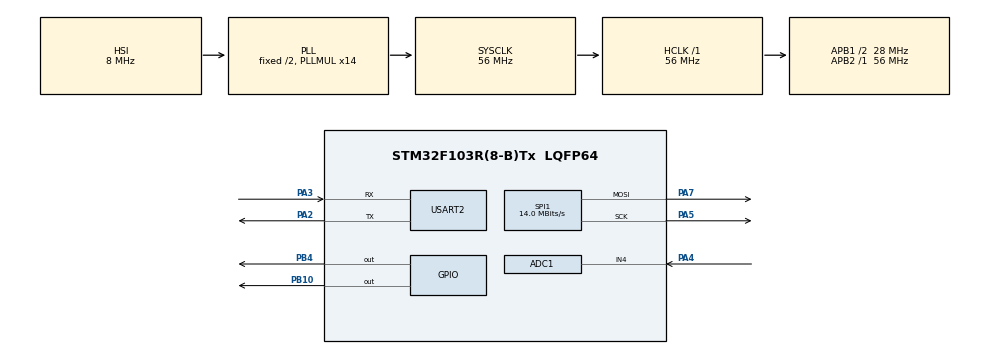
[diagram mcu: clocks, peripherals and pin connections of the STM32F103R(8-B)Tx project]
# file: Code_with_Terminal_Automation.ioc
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ADC1.Channel-0\#ChannelRegularConversion=ADC_CHANNEL_4
ADC1.NbrOfConversionFlag=1
ADC1.Rank-0\#ChannelRegularConversion=1
ADC1.SamplingTime-0\#ChannelRegularConversion=ADC_SAMPLETIME_1CYCLE_5
ADC1.master=1
Mcu.Family=STM32F1
Mcu.Name=STM32F103R(8-B)Tx
Mcu.Package=LQFP64
NVIC.PriorityGroup=NVIC_PRIORITYGROUP_4
PA2.Mode=Asynchronous
PA2.Signal=USART2_TX
PA3.Mode=Asynchronous
PA3.Signal=USART2_RX
PA4.Signal=ADCx_IN4
PA5.Mode=TX_Only_Simplex_Unidirect_Master
PA5.Signal=SPI1_SCK
PA7.Mode=TX_Only_Simplex_Unidirect_Master
PA7.Signal=SPI1_MOSI
PB10.Signal=GPIO_Output
PB4.Signal=GPIO_Output
ProjectManager.HeapSize=0x200
ProjectManager.StackSize=0x400
ProjectManager.TargetToolchain=STM32CubeIDE
RCC.ADCPresc=RCC_ADCPCLK2_DIV4
RCC.AHBFreq_Value=56000000
RCC.APB1CLKDivider=RCC_HCLK_DIV2
RCC.APB1Freq_Value=28000000
RCC.APB1TimFreq_Value=56000000
RCC.APB2Freq_Value=56000000
RCC.APB2TimFreq_Value=56000000
RCC.HCLKFreq_Value=56000000
RCC.PLLMUL=RCC_PLL_MUL14
RCC.SYSCLKFreq_VALUE=56000000
RCC.SYSCLKSource=RCC_SYSCLKSOURCE_PLLCLK
RCC.USBFreq_Value=56000000
SH.ADCx_IN4.0=ADC1_IN4,IN4
SPI1.BaudRatePrescaler=SPI_BAUDRATEPRESCALER_4
SPI1.CalculateBaudRate=14.0 MBits/s
SPI1.Direction=SPI_DIRECTION_2LINES
SPI1.Mode=SPI_MODE_MASTER
SPI1.VirtualType=VM_MASTER
USART2.VirtualMode=VM_ASYNC
VP_SYS_VS_ND.Mode=No_Debug
board=custom

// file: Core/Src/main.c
/* USER CODE BEGIN Header */
/**
  ******************************************************************************
  * @file           : main.c
  * @brief          : Main program body
  ******************************************************************************
  * @attention
  *
  * Copyright (c) 2024 STMicroelectronics.
  * All rights reserved.
  *
  * This software is licensed under terms that can be found in the LICENSE file
  * in the root directory of this software component.
  * If no LICENSE file comes with this software, it is provided AS-IS.
  *
  ******************************************************************************
  */
/* USER CODE END Header */
#include "main.h"
#include <stdio.h>
#include <string.h>

ADC_HandleTypeDef hadc1;

SPI_HandleTypeDef hspi1;

UART_HandleTypeDef huart2;

void SystemClock_Config(void);
static void MX_GPIO_Init(void);
static void MX_ADC1_Init(void);
static void MX_SPI1_Init(void);
static void MX_USART2_UART_Init(void);

/* USER CODE BEGIN 0 */

void UART_SendString(const char *str) {
    while (*str) {
        while (!(USART2->SR & USART_SR_TXE));
        USART2->DR = *str++;
    }
}

void generate_wave_case1(void) {
	uint8_t myData[2];
	uint16_t adc_Value = 0;
	uint16_t adc_array[80];
	char msg[16];

	// Define a global index variable to keep track of the position in the array
	uint8_t adc_index = 0;
    // Code for generating wave for case 1
	  for (uint16_t voltage = 500; voltage <= 4000; voltage +=100) // Decrement voltage in steps
		 {
	   myData[0] = (voltage >> 8) | 0x30; // First byte (configuration bits + MSB)
	   myData[1] = voltage & 0xFF;        // Second byte (LSB)
	   HAL_GPIO_WritePin(GPIOB, GPIO_PIN_4, GPIO_PIN_SET);
	   HAL_GPIO_WritePin(GPIOB, GPIO_PIN_10, GPIO_PIN_RESET);
	   HAL_SPI_Transmit(&hspi1, myData, sizeof(myData), HAL_MAX_DELAY);
	   HAL_GPIO_WritePin(GPIOB, GPIO_PIN_10, GPIO_PIN_SET);
	   HAL_GPIO_WritePin(GPIOB, GPIO_PIN_4, GPIO_PIN_RESET);
	  HAL_ADC_Start(&hadc1);

	 // Wait for ADC conversion to complete
	 HAL_ADC_PollForConversion(&hadc1, HAL_MAX_DELAY);

	 // Read ADC value
	 adc_Value = HAL_ADC_GetValue(&hadc1);
	 adc_array[adc_index++] = adc_Value;
		 }
	  for (uint16_t voltage = 4000; voltage > 0; voltage -=100) // Decrement voltage in steps
		 {
	   myData[0] = (voltage >> 8) | 0x30; // First byte (configuration bits + MSB)
	   myData[1] = voltage & 0xFF;        // Second byte (LSB)
	   HAL_GPIO_WritePin(GPIOB, GPIO_PIN_4, GPIO_PIN_SET);
	   HAL_GPIO_WritePin(GPIOB, GPIO_PIN_10, GPIO_PIN_RESET);
	   HAL_SPI_Transmit(&hspi1, myData, sizeof(myData), HAL_MAX_DELAY);
	   HAL_GPIO_WritePin(GPIOB, GPIO_PIN_10, GPIO_PIN_SET);
	   HAL_GPIO_WritePin(GPIOB, GPIO_PIN_4, GPIO_PIN_RESET);
	  HAL_ADC_Start(&hadc1);

	 // Wait for ADC conversion to complete
	 HAL_ADC_PollForConversion(&hadc1, HAL_MAX_DELAY);

	 // Read ADC value
	 adc_Value = HAL_ADC_GetValue(&hadc1);
	 adc_array[adc_index++] = adc_Value;
		 }
		for (int i = 0; i < sizeof(adc_array) / sizeof(adc_array[0]); i++) {
		    sprintf(msg, "%hu\r\n", adc_array[i]); // Format current ADC value
		    HAL_UART_Transmit(&huart2, (uint8_t *)msg, strlen(msg), HAL_MAX_DELAY); // Transmit formatted value via UART
		}
}

void generate_wave_case2(void) {
	uint8_t myData[2];
	uint16_t adc_Value = 0;
	uint16_t adc_array[160];
	char msg[16];
	uint8_t adc_index = 0;
    // Code for generating wave for case 2
	for (uint16_t voltage = 2100; voltage <= 4000; voltage +=100) // Increment voltage in steps
	 {
	   // Construct SPI data
	   myData[0] = (voltage >> 8) | 0x30; // First byte (configuration bits + MSB)
	   myData[1] = voltage & 0xFF;        // Second byte (LSB)

	   // Set CS pin low to select MCP4921
	   HAL_GPIO_WritePin(GPIOB, GPIO_PIN_4, GPIO_PIN_SET);
	   HAL_GPIO_WritePin(GPIOB, GPIO_PIN_10, GPIO_PIN_RESET);

	   // Transmit SPI data
	   HAL_SPI_Transmit(&hspi1, myData, sizeof(myData), HAL_MAX_DELAY);

	   // Set CS pin high to deselect MCP4921
	   HAL_GPIO_WritePin(GPIOB, GPIO_PIN_10, GPIO_PIN_SET);
	   HAL_GPIO_WritePin(GPIOB, GPIO_PIN_4, GPIO_PIN_RESET);
	  HAL_ADC_Start(&hadc1);

	 // Wait for ADC conversion to complete
	 HAL_ADC_PollForConversion(&hadc1, HAL_MAX_DELAY);

	 // Read ADC value
	 adc_Value = HAL_ADC_GetValue(&hadc1);
	 adc_array[adc_index++] = adc_Value;
	 }
	for (uint16_t voltage = 4000; voltage > 2000; voltage -=100) // Increment voltage in steps
	 {
	   // Construct SPI data
	   myData[0] = (voltage >> 8) | 0x30; // First byte (configuration bits + MSB)
	   myData[1] = voltage & 0xFF;        // Second byte (LSB)

	   // Set CS pin low to select MCP4921
	   HAL_GPIO_WritePin(GPIOB, GPIO_PIN_4, GPIO_PIN_SET);
	   HAL_GPIO_WritePin(GPIOB, GPIO_PIN_10, GPIO_PIN_RESET);

	   // Transmit SPI data
	   HAL_SPI_Transmit(&hspi1, myData, sizeof(myData), HAL_MAX_DELAY);

	   // Set CS pin high to deselect MCP4921
	   HAL_GPIO_WritePin(GPIOB, GPIO_PIN_10, GPIO_PIN_SET);
	   HAL_GPIO_WritePin(GPIOB, GPIO_PIN_4, GPIO_PIN_RESET);
		  HAL_ADC_Start(&hadc1);

		 // Wait for ADC conversion to complete
		 HAL_ADC_PollForConversion(&hadc1, HAL_MAX_DELAY);

		 // Read ADC value
		 adc_Value = HAL_ADC_GetValue(&hadc1);
		 adc_array[adc_index++] = adc_Value;
	 }
	for (uint16_t voltage = 2100; voltage <= 4000; voltage +=100) // Increment voltage in steps
	 {
	   // Construct SPI data
	   myData[0] = (voltage >> 8) | 0x30; // First byte (configuration bits + MSB)
	   myData[1] = voltage & 0xFF;        // Second byte (LSB)

	   // Set CS pin low to select MCP4921
	   HAL_GPIO_WritePin(GPIOB, GPIO_PIN_4, GPIO_PIN_SET);
	   HAL_GPIO_WritePin(GPIOB, GPIO_PIN_10, GPIO_PIN_RESET);

	   // Transmit SPI data
	   HAL_SPI_Transmit(&hspi1, myData, sizeof(myData), HAL_MAX_DELAY);

	   // Set CS pin high to deselect MCP4921
	   HAL_GPIO_WritePin(GPIOB, GPIO_PIN_10, GPIO_PIN_SET);
	   HAL_GPIO_WritePin(GPIOB, GPIO_PIN_4, GPIO_PIN_RESET);
		  HAL_ADC_Start(&hadc1);

		 // Wait for ADC conversion to complete
		 HAL_ADC_PollForConversion(&hadc1, HAL_MAX_DELAY);

		 // Read ADC value
		 adc_Value = HAL_ADC_GetValue(&hadc1);
		 adc_array[adc_index++] = adc_Value;
	 }
	for (uint16_t voltage = 4000; voltage > 2000; voltage -=100) // Increment voltage in steps
	 {
	   // Construct SPI data
	   myData[0] = (voltage >> 8) | 0x30; // First byte (configuration bits + MSB)
	   myData[1] = voltage & 0xFF;        // Second byte (LSB)

	   // Set CS pin low to select MCP4921
	   HAL_GPIO_WritePin(GPIOB, GPIO_PIN_4, GPIO_PIN_SET);
	   HAL_GPIO_WritePin(GPIOB, GPIO_PIN_10, GPIO_PIN_RESET);

	   // Transmit SPI data
	   HAL_SPI_Transmit(&hspi1, myData, sizeof(myData), HAL_MAX_DELAY);

	   // Set CS pin high to deselect MCP4921
	   HAL_GPIO_WritePin(GPIOB, GPIO_PIN_10, GPIO_PIN_SET);
	   HAL_GPIO_WritePin(GPIOB, GPIO_PIN_4, GPIO_PIN_RESET);
		  HAL_ADC_Start(&hadc1);

		 // Wait for ADC conversion to complete
		 HAL_ADC_PollForConversion(&hadc1, HAL_MAX_DELAY);

		 // Read ADC value
		 adc_Value = HAL_ADC_GetValue(&hadc1);
		 adc_array[adc_index++] = adc_Value;
	 }
	for (uint16_t voltage = 2000; voltage > 0; voltage -=100) // Increment voltage in steps
	 {
	   // Construct SPI data
	   myData[0] = (voltage >> 8) | 0x30; // First byte (configuration bits + MSB)
	   myData[1] = voltage & 0xFF;        // Second byte (LSB)

	   // Set CS pin low to select MCP4921
	   HAL_GPIO_WritePin(GPIOB, GPIO_PIN_4, GPIO_PIN_SET);
	   HAL_GPIO_WritePin(GPIOB, GPIO_PIN_10, GPIO_PIN_RESET);

	   // Transmit SPI data
	   HAL_SPI_Transmit(&hspi1, myData, sizeof(myData), HAL_MAX_DELAY);

	   // Set CS pin high to deselect MCP4921
	   HAL_GPIO_WritePin(GPIOB, GPIO_PIN_10, GPIO_PIN_SET);
	   HAL_GPIO_WritePin(GPIOB, GPIO_PIN_4, GPIO_PIN_RESET);
		  HAL_ADC_Start(&hadc1);

		 // Wait for ADC conversion to complete
		 HAL_ADC_PollForConversion(&hadc1, HAL_MAX_DELAY);

		 // Read ADC value
		 adc_Value = HAL_ADC_GetValue(&hadc1);
		 adc_array[adc_index++] = adc_Value;
	 }
	for (uint16_t voltage = 100; voltage <= 2000; voltage +=100) // Increment voltage in steps
	 {
	   // Construct SPI data
	   myData[0] = (voltage >> 8) | 0x30; // First byte (configuration bits + MSB)
	   myData[1] = voltage & 0xFF;        // Second byte (LSB)

	   // Set CS pin low to select MCP4921
	   HAL_GPIO_WritePin(GPIOB, GPIO_PIN_4, GPIO_PIN_SET);
	   HAL_GPIO_WritePin(GPIOB, GPIO_PIN_10, GPIO_PIN_RESET);

	   // Transmit SPI data
	   HAL_SPI_Transmit(&hspi1, myData, sizeof(myData), HAL_MAX_DELAY);

	   // Set CS pin high to deselect MCP4921
	   HAL_GPIO_WritePin(GPIOB, GPIO_PIN_10, GPIO_PIN_SET);
	   HAL_GPIO_WritePin(GPIOB, GPIO_PIN_4, GPIO_PIN_RESET);
		  HAL_ADC_Start(&hadc1);

		 // Wait for ADC conversion to complete
		 HAL_ADC_PollForConversion(&hadc1, HAL_MAX_DELAY);

		 // Read ADC value
		 adc_Value = HAL_ADC_GetValue(&hadc1);
		 adc_array[adc_index++] = adc_Value;
	 }
	for (uint16_t voltage = 2000; voltage > 0; voltage -=100) // Increment voltage in steps
	 {
	   // Construct SPI data
	   myData[0] = (voltage >> 8) | 0x30; // First byte (configuration bits + MSB)
	   myData[1] = voltage & 0xFF;        // Second byte (LSB)

	   // Set CS pin low to select MCP4921
	   HAL_GPIO_WritePin(GPIOB, GPIO_PIN_4, GPIO_PIN_SET);
	   HAL_GPIO_WritePin(GPIOB, GPIO_PIN_10, GPIO_PIN_RESET);

	   // Transmit SPI data
	   HAL_SPI_Transmit(&hspi1, myData, sizeof(myData), HAL_MAX_DELAY);

	   // Set CS pin high to deselect MCP4921
	   HAL_GPIO_WritePin(GPIOB, GPIO_PIN_10, GPIO_PIN_SET);
	   HAL_GPIO_WritePin(GPIOB, GPIO_PIN_4, GPIO_PIN_RESET);
		  HAL_ADC_Start(&hadc1);

		 // Wait for ADC conversion to complete
		 HAL_ADC_PollForConversion(&hadc1, HAL_MAX_DELAY);

		 // Read ADC value
		 adc_Value = HAL_ADC_GetValue(&hadc1);
		 adc_array[adc_index++] = adc_Value;
	 }
	for (uint16_t voltage = 100; voltage <= 2000; voltage +=100) // Increment voltage in steps
	 {
	   // Construct SPI data
	   myData[0] = (voltage >> 8) | 0x30; // First byte (configuration bits + MSB)
	   myData[1] = voltage & 0xFF;        // Second byte (LSB)

	   // Set CS pin low to select MCP4921
	   HAL_GPIO_WritePin(GPIOB, GPIO_PIN_4, GPIO_PIN_SET);
	   HAL_GPIO_WritePin(GPIOB, GPIO_PIN_10, GPIO_PIN_RESET);

	   // Transmit SPI data
	   HAL_SPI_Transmit(&hspi1, myData, sizeof(myData), HAL_MAX_DELAY);

	   // Set CS pin high to deselect MCP4921
	   HAL_GPIO_WritePin(GPIOB, GPIO_PIN_10, GPIO_PIN_SET);
	   HAL_GPIO_WritePin(GPIOB, GPIO_PIN_4, GPIO_PIN_RESET);
		  HAL_ADC_Start(&hadc1);

		 // Wait for ADC conversion to complete
		 HAL_ADC_PollForConversion(&hadc1, HAL_MAX_DELAY);

		 // Read ADC value
		 adc_Value = HAL_ADC_GetValue(&hadc1);
		 adc_array[adc_index++] = adc_Value;
	 }
	for (int i = 0; i < sizeof(adc_array) / sizeof(adc_array[0]); i++) {
	    sprintf(msg, "%hu\r\n", adc_array[i]); // Format current ADC value
	    HAL_UART_Transmit(&huart2, (uint8_t *)msg, strlen(msg), HAL_MAX_DELAY); // Transmit formatted value via UART
	}
}

void generate_wave_case3(void){
	uint8_t myData[2];
	uint16_t adc_Value = 0;
//	uint16_t adc_array[160];
//	uint8_t loopCount = 0;
//	char msg[16];
//	uint8_t adc_index = 0;
	while(1)
	{
	  for (uint16_t voltage = 500; voltage <= 4000; voltage +=500) // Decrement voltage in steps
		 {
	   myData[0] = (voltage >> 8) | 0x30; // First byte (configuration bits + MSB)
	   myData[1] = voltage & 0xFF;        // Second byte (LSB)
	   HAL_GPIO_WritePin(GPIOB, GPIO_PIN_4, GPIO_PIN_SET);
	   HAL_GPIO_WritePin(GPIOB, GPIO_PIN_10, GPIO_PIN_RESET);
	   HAL_SPI_Transmit(&hspi1, myData, sizeof(myData), HAL_MAX_DELAY);
	   HAL_GPIO_WritePin(GPIOB, GPIO_PIN_10, GPIO_PIN_SET);
	   HAL_GPIO_WritePin(GPIOB, GPIO_PIN_4, GPIO_PIN_RESET);
//		  HAL_ADC_Start(&hadc1);
//
//		 // Wait for ADC conversion to complete
//		 HAL_ADC_PollForConversion(&hadc1, HAL_MAX_DELAY);
//
//		 // Read ADC value
//		 adc_Value = HAL_ADC_GetValue(&hadc1);
//		 adc_array[adc_index++] = adc_Value;
		 }
	  for (uint16_t voltage = 4000; voltage > 0; voltage -=500) // Decrement voltage in steps
		 {
	   myData[0] = (voltage >> 8) | 0x30; // First byte (configuration bits + MSB)
	   myData[1] = voltage & 0xFF;        // Second byte (LSB)
	   HAL_GPIO_WritePin(GPIOB, GPIO_PIN_4, GPIO_PIN_SET);
	   HAL_GPIO_WritePin(GPIOB, GPIO_PIN_10, GPIO_PIN_RESET);
	   HAL_SPI_Transmit(&hspi1, myData, sizeof(myData), HAL_MAX_DELAY);
	   HAL_GPIO_WritePin(GPIOB, GPIO_PIN_10, GPIO_PIN_SET);
	   HAL_GPIO_WritePin(GPIOB, GPIO_PIN_4, GPIO_PIN_RESET);
//		  HAL_ADC_Start(&hadc1);
//
//		 // Wait for ADC conversion to complete
//		 HAL_ADC_PollForConversion(&hadc1, HAL_MAX_DELAY);
//
//		 // Read ADC value
//		 adc_Value = HAL_ADC_GetValue(&hadc1);
//		 adc_array[adc_index++] = adc_Value;
		 }
//	  loopCount++;
	}
//	for (int i = 0; i < sizeof(adc_array) / sizeof(adc_array[0]); i++) {
//	    sprintf(msg, "%hu\r\n", adc_array[i]); // Format current ADC value
//	    HAL_UART_Transmit(&huart2, (uint8_t *)msg, strlen(msg), HAL_MAX_DELAY); // Transmit formatted value via UART
//	}
}
/* USER CODE END 0 */

int main(void)
{

  /* MCU Configuration--------------------------------------------------------*/

  /* Reset of all peripherals, Initializes the Flash interface and the Systick. */
  HAL_Init();

  /* Configure the system clock */
  SystemClock_Config();

  /* Initialize all configured peripherals */
  MX_GPIO_Init();
  MX_ADC1_Init();
  MX_SPI1_Init();
  MX_USART2_UART_Init();

  /* Infinite loop */
  while (1)
  {
	  if (USART2->SR & USART_SR_RXNE) {
	              // Read the received character
			  char received_char = USART2->DR;

			  // Process the received character
			  switch (received_char) {
				  case 'A':
					  UART_SendString("Generating wave for case 1\r\n");
					  generate_wave_case1();
					  break;
				  case 'B':
					  UART_SendString("Generating wave for case 2\r\n");
					  generate_wave_case2();
					  break;
				  case 'C':
					  UART_SendString("Generating wave for case 3\r\n");
					  generate_wave_case3();
					  break;
				  default:
					  UART_SendString("Invalid command. Please enter 'A' or 'B' or 'C'\r\n");
					  break;
			  }
		  }
  }
}

void SystemClock_Config(void)
{
  RCC_OscInitTypeDef RCC_OscInitStruct = {0};
  RCC_ClkInitTypeDef RCC_ClkInitStruct = {0};
  RCC_PeriphCLKInitTypeDef PeriphClkInit = {0};

  /** Initializes the RCC Oscillators according to the specified parameters
  * in the RCC_OscInitTypeDef structure.
  */
  RCC_OscInitStruct.OscillatorType = RCC_OSCILLATORTYPE_HSI;
  RCC_OscInitStruct.HSIState = RCC_HSI_ON;
  RCC_OscInitStruct.HSICalibrationValue = RCC_HSICALIBRATION_DEFAULT;
  RCC_OscInitStruct.PLL.PLLState = RCC_PLL_ON;
  RCC_OscInitStruct.PLL.PLLSource = RCC_PLLSOURCE_HSI_DIV2;
  RCC_OscInitStruct.PLL.PLLMUL = RCC_PLL_MUL14;
  if (HAL_RCC_OscConfig(&RCC_OscInitStruct) != HAL_OK)
  {
    Error_Handler();
  }

  /** Initializes the CPU, AHB and APB buses clocks
  */
  RCC_ClkInitStruct.ClockType = RCC_CLOCKTYPE_HCLK|RCC_CLOCKTYPE_SYSCLK
                              |RCC_CLOCKTYPE_PCLK1|RCC_CLOCKTYPE_PCLK2;
  RCC_ClkInitStruct.SYSCLKSource = RCC_SYSCLKSOURCE_PLLCLK;
  RCC_ClkInitStruct.AHBCLKDivider = RCC_SYSCLK_DIV1;
  RCC_ClkInitStruct.APB1CLKDivider = RCC_HCLK_DIV2;
  RCC_ClkInitStruct.APB2CLKDivider = RCC_HCLK_DIV1;

  if (HAL_RCC_ClockConfig(&RCC_ClkInitStruct, FLASH_LATENCY_2) != HAL_OK)
  {
    Error_Handler();
  }
  PeriphClkInit.PeriphClockSelection = RCC_PERIPHCLK_ADC;
  PeriphClkInit.AdcClockSelection = RCC_ADCPCLK2_DIV4;
  if (HAL_RCCEx_PeriphCLKConfig(&PeriphClkInit) != HAL_OK)
  {
    Error_Handler();
  }
}

static void MX_ADC1_Init(void)
{

  ADC_ChannelConfTypeDef sConfig = {0};

  /** Common config
  */
  hadc1.Instance = ADC1;
  hadc1.Init.ScanConvMode = ADC_SCAN_DISABLE;
  hadc1.Init.ContinuousConvMode = DISABLE;
  hadc1.Init.DiscontinuousConvMode = DISABLE;
  hadc1.Init.ExternalTrigConv = ADC_SOFTWARE_START;
  hadc1.Init.DataAlign = ADC_DATAALIGN_RIGHT;
  hadc1.Init.NbrOfConversion = 1;
  if (HAL_ADC_Init(&hadc1) != HAL_OK)
  {
    Error_Handler();
  }

  /** Configure Regular Channel
  */
  sConfig.Channel = ADC_CHANNEL_4;
  sConfig.Rank = ADC_REGULAR_RANK_1;
  sConfig.SamplingTime = ADC_SAMPLETIME_1CYCLE_5;
  if (HAL_ADC_ConfigChannel(&hadc1, &sConfig) != HAL_OK)
  {
    Error_Handler();
  }

}

static void MX_SPI1_Init(void)
{

  /* SPI1 parameter configuration*/
  hspi1.Instance = SPI1;
  hspi1.Init.Mode = SPI_MODE_MASTER;
  hspi1.Init.Direction = SPI_DIRECTION_2LINES;
  hspi1.Init.DataSize = SPI_DATASIZE_8BIT;
  hspi1.Init.CLKPolarity = SPI_POLARITY_LOW;
  hspi1.Init.CLKPhase = SPI_PHASE_1EDGE;
  hspi1.Init.NSS = SPI_NSS_SOFT;
  hspi1.Init.BaudRatePrescaler = SPI_BAUDRATEPRESCALER_4;
  hspi1.Init.FirstBit = SPI_FIRSTBIT_MSB;
  hspi1.Init.TIMode = SPI_TIMODE_DISABLE;
  hspi1.Init.CRCCalculation = SPI_CRCCALCULATION_DISABLE;
  hspi1.Init.CRCPolynomial = 10;
  if (HAL_SPI_Init(&hspi1) != HAL_OK)
  {
    Error_Handler();
  }

}

static void MX_USART2_UART_Init(void)
{

  huart2.Instance = USART2;
  huart2.Init.BaudRate = 115200;
  huart2.Init.WordLength = UART_WORDLENGTH_8B;
  huart2.Init.StopBits = UART_STOPBITS_1;
  huart2.Init.Parity = UART_PARITY_NONE;
  huart2.Init.Mode = UART_MODE_TX_RX;
  huart2.Init.HwFlowCtl = UART_HWCONTROL_NONE;
  huart2.Init.OverSampling = UART_OVERSAMPLING_16;
  if (HAL_UART_Init(&huart2) != HAL_OK)
  {
    Error_Handler();
  }

}

static void MX_GPIO_Init(void)
{
  GPIO_InitTypeDef GPIO_InitStruct = {0};

  /* GPIO Ports Clock Enable */
  __HAL_RCC_GPIOA_CLK_ENABLE();
  __HAL_RCC_GPIOB_CLK_ENABLE();

  /*Configure GPIO pin Output Level */
  HAL_GPIO_WritePin(GPIOB, GPIO_PIN_10|GPIO_PIN_4, GPIO_PIN_RESET);

  /*Configure GPIO pins : PB10 PB4 */
  GPIO_InitStruct.Pin = GPIO_PIN_10|GPIO_PIN_4;
  GPIO_InitStruct.Mode = GPIO_MODE_OUTPUT_PP;
  GPIO_InitStruct.Pull = GPIO_NOPULL;
  GPIO_InitStruct.Speed = GPIO_SPEED_FREQ_LOW;
  HAL_GPIO_Init(GPIOB, &GPIO_InitStruct);

}

void Error_Handler(void)
{
  __disable_irq();
  while (1)
  {
  }
}
